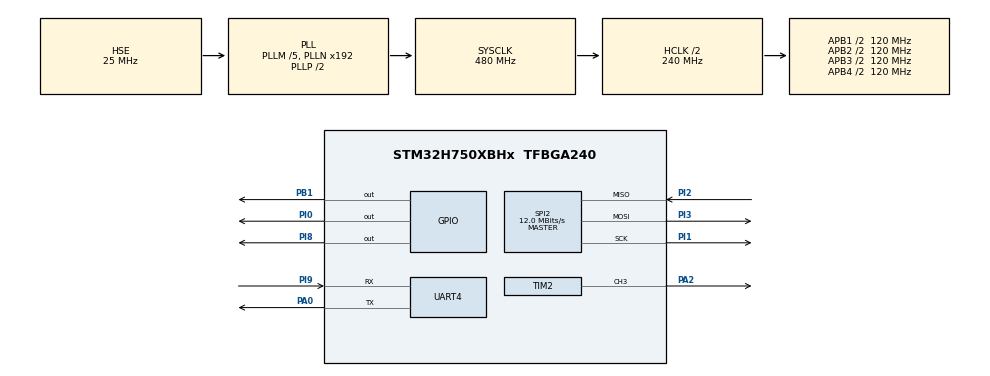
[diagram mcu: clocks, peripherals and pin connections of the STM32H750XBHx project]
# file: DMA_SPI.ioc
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CORTEX_M7.default_mode_Activation=1
Dma.Request0=UART4_TX
Dma.Request1=TIM2_UP
Dma.TIM2_UP.1.Direction=DMA_MEMORY_TO_PERIPH
Dma.TIM2_UP.1.EventEnable=ENABLE
Dma.TIM2_UP.1.FIFOMode=DMA_FIFOMODE_DISABLE
Dma.TIM2_UP.1.Instance=DMA1_Stream0
Dma.TIM2_UP.1.MemDataAlignment=DMA_MDATAALIGN_WORD
Dma.TIM2_UP.1.MemInc=DMA_MINC_DISABLE
Dma.TIM2_UP.1.Mode=DMA_CIRCULAR
Dma.TIM2_UP.1.PeriphDataAlignment=DMA_PDATAALIGN_WORD
Dma.TIM2_UP.1.PeriphInc=DMA_PINC_DISABLE
Dma.TIM2_UP.1.Polarity=HAL_DMAMUX_REQ_GEN_RISING
Dma.TIM2_UP.1.Priority=DMA_PRIORITY_LOW
Dma.TIM2_UP.1.RequestNumber=1
Dma.TIM2_UP.1.SignalID=NONE
Dma.TIM2_UP.1.SyncEnable=DISABLE
Dma.TIM2_UP.1.SyncPolarity=HAL_DMAMUX_SYNC_NO_EVENT
Dma.TIM2_UP.1.SyncRequestNumber=1
Dma.TIM2_UP.1.SyncSignalID=NONE
Dma.UART4_TX.0.Direction=DMA_MEMORY_TO_PERIPH
Dma.UART4_TX.0.EventEnable=DISABLE
Dma.UART4_TX.0.FIFOMode=DMA_FIFOMODE_DISABLE
Dma.UART4_TX.0.Instance=DMA1_Stream1
Dma.UART4_TX.0.MemDataAlignment=DMA_MDATAALIGN_BYTE
Dma.UART4_TX.0.MemInc=DMA_MINC_ENABLE
Dma.UART4_TX.0.Mode=DMA_CIRCULAR
Dma.UART4_TX.0.PeriphDataAlignment=DMA_PDATAALIGN_BYTE
Dma.UART4_TX.0.PeriphInc=DMA_PINC_DISABLE
Dma.UART4_TX.0.Polarity=HAL_DMAMUX_REQ_GEN_RISING
Dma.UART4_TX.0.Priority=DMA_PRIORITY_LOW
Dma.UART4_TX.0.RequestNumber=1
Dma.UART4_TX.0.SignalID=NONE
Dma.UART4_TX.0.SyncEnable=ENABLE
Dma.UART4_TX.0.SyncPolarity=HAL_DMAMUX_SYNC_RISING
Dma.UART4_TX.0.SyncRequestNumber=1
Dma.UART4_TX.0.SyncSignalID=HAL_DMAMUX1_SYNC_LPTIM2_OUT
Mcu.Family=STM32H7
Mcu.Name=STM32H750XBHx
Mcu.Package=TFBGA240
NVIC.DMA1_Stream0_IRQn=true\:0\:0\:false\:false\:true\:false\:true\:true
NVIC.DMA1_Stream1_IRQn=true\:0\:0\:false\:false\:true\:false\:true\:true
NVIC.DMAMUX1_OVR_IRQn=true\:0\:0\:false\:false\:true\:false\:true\:true
NVIC.PriorityGroup=NVIC_PRIORITYGROUP_4
PA0.Mode=Asynchronous
PA0.Signal=UART4_TX
PA13\ (JTMS/SWDIO).Mode=Serial_Wire
PA13\ (JTMS/SWDIO).Signal=DEBUG_JTMS-SWDIO
PA14\ (JTCK/SWCLK).Mode=Serial_Wire
PA14\ (JTCK/SWCLK).Signal=DEBUG_JTCK-SWCLK
PA2.Signal=S_TIM2_CH3
PB1.Signal=GPIO_Output
PC14-OSC32_IN\ (OSC32_IN).Mode=LSE-External-Oscillator
PC14-OSC32_IN\ (OSC32_IN).Signal=RCC_OSC32_IN
PC15-OSC32_OUT\ (OSC32_OUT).Mode=LSE-External-Oscillator
PC15-OSC32_OUT\ (OSC32_OUT).Signal=RCC_OSC32_OUT
PH0-OSC_IN\ (PH0).Mode=HSE-External-Oscillator
PH0-OSC_IN\ (PH0).Signal=RCC_OSC_IN
PH1-OSC_OUT\ (PH1).Mode=HSE-External-Oscillator
PH1-OSC_OUT\ (PH1).Signal=RCC_OSC_OUT
PI0.Signal=GPIO_Output
PI1.Mode=Full_Duplex_Master
PI1.Signal=SPI2_SCK
PI2.Mode=Full_Duplex_Master
PI2.Signal=SPI2_MISO
PI3.Mode=Full_Duplex_Master
PI3.Signal=SPI2_MOSI
PI8.Signal=GPIO_Output
PI9.Mode=Asynchronous
PI9.Signal=UART4_RX
ProjectManager.HeapSize=0x200
ProjectManager.StackSize=0x400
ProjectManager.TargetToolchain=MDK-ARM V5.27
RCC.ADCFreq_Value=50390625
RCC.APB1Freq_Value=120000000
RCC.APB2Freq_Value=120000000
RCC.APB3Freq_Value=120000000
RCC.APB4Freq_Value=120000000
RCC.CortexFreq_Value=480000000
RCC.D1PPRE=RCC_APB3_DIV2
RCC.D2PPRE1=RCC_APB1_DIV2
RCC.D2PPRE2=RCC_APB2_DIV2
RCC.D3PPRE=RCC_APB4_DIV2
RCC.DIVM1=5
RCC.DIVN1=192
RCC.DIVQ1=5
RCC.HCLKFreq_Value=240000000
RCC.HPRE=RCC_HCLK_DIV2
RCC.PLL2FRACN=0
RCC.PLL3FRACN=0
RCC.PLLFRACN=0
RCC.PLLSourceVirtual=RCC_PLLSOURCE_HSE
RCC.SYSCLKFreq_VALUE=480000000
RCC.SYSCLKSource=RCC_SYSCLKSOURCE_PLLCLK
RCC.USBFreq_Value=192000000
SH.S_TIM2_CH3.0=TIM2_CH3,PWM Generation3 CH3
SPI2.BaudRatePrescaler=SPI_BAUDRATEPRESCALER_16
SPI2.CalculateBaudRate=12.0 MBits/s
SPI2.DataSize=SPI_DATASIZE_32BIT
SPI2.Direction=SPI_DIRECTION_2LINES
SPI2.Mode=SPI_MODE_MASTER
SPI2.VirtualType=VM_MASTER
TIM2.AutoReloadPreload=TIM_AUTORELOAD_PRELOAD_ENABLE
TIM2.Channel-PWM\ Generation1\ No\ Output=TIM_CHANNEL_1
TIM2.Channel-PWM\ Generation3\ CH3=TIM_CHANNEL_3
TIM2.Period=1000-1
TIM2.Prescaler=240-1
TIM2.Pulse-PWM\ Generation1\ No\ Output=200-1
TIM2.Pulse-PWM\ Generation3\ CH3=200-1
VP_LPTIM2_VS_LPTIM_counterModeInternalClock.Mode=Counts__internal_clock_event_00
VP_MEMORYMAP_VS_MEMORYMAP.Mode=CurAppReg
VP_TIM2_VS_ClockSourceINT.Mode=Internal
VP_TIM2_VS_no_output1.Mode=PWM Generation1 No Output
board=custom

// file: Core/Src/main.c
/* USER CODE BEGIN Header */
/**
  ******************************************************************************
  * @file           : main.c
  * @brief          : Main program body
  ******************************************************************************
  * @attention
  *
  * Copyright (c) 2025 STMicroelectronics.
  * All rights reserved.
  *
  * This software is licensed under terms that can be found in the LICENSE file
  * in the root directory of this software component.
  * If no LICENSE file comes with this software, it is provided AS-IS.
  *
  ******************************************************************************
  */
/* USER CODE END Header */
#include "main.h"
#include "dma.h"
#include "lptim.h"
#include "memorymap.h"
#include "spi.h"
#include "tim.h"
#include "usart.h"
#include "gpio.h"

/* USER CODE BEGIN PV */
extern SPI_HandleTypeDef hspi2;
int test_frame_int32[1];
/* USER CODE END PV */

void SystemClock_Config(void);
static void MPU_Config(void);

/* USER CODE BEGIN 0 */
typedef union{
	uint32_t u32_data;
	struct {
		uint32_t bit0_3 : 4;
		uint32_t bit4_23 : 20;
		uint32_t bit24_30 : 7;
		uint32_t bit31 : 1;
	}bits;
}dac_frame_t;

dac_frame_t test_frame_union[11];

#define 	WRITE_MODE					(0)
#define 	READ_MODE						(1)
#define  	REG_ADDR_DATA				(0x01)
#define  	REG_ADDR_CFG1				(0x02)
#define 	RT_EOK							(0)

int concat_frame(dac_frame_t *pframe,uint32_t wr_direction,uint32_t reg_addr,uint32_t data)
{
	pframe->bits.bit0_3 = 0x00;
	pframe->bits.bit4_23 = data;
	pframe->bits.bit24_30 = reg_addr;
	if(wr_direction == WRITE_MODE)
	{
		pframe->bits.bit31 = WRITE_MODE;
	}
	else if(wr_direction == READ_MODE)
	{
		pframe->bits.bit31 = READ_MODE;
	}
	return RT_EOK;
}

int generate_test_frame()
{
	concat_frame(&test_frame_union[0], WRITE_MODE, REG_ADDR_CFG1,	0x004C8);
	concat_frame(&test_frame_union[1], WRITE_MODE, REG_ADDR_DATA,	0x00000);
	concat_frame(&test_frame_union[2], WRITE_MODE, REG_ADDR_DATA,	0xFFFFF);
	concat_frame(&test_frame_union[3], WRITE_MODE, REG_ADDR_DATA,	0x00000);
	concat_frame(&test_frame_union[4], WRITE_MODE, REG_ADDR_DATA,	0xFFFFF);
	concat_frame(&test_frame_union[5], WRITE_MODE, REG_ADDR_DATA,	0x00000);
	concat_frame(&test_frame_union[6], WRITE_MODE, REG_ADDR_DATA,	0xFFFFF);
	concat_frame(&test_frame_union[7], WRITE_MODE, REG_ADDR_DATA,	0x00000);
	concat_frame(&test_frame_union[8], WRITE_MODE, REG_ADDR_DATA,	0xFFFFF);
	concat_frame(&test_frame_union[9], WRITE_MODE, REG_ADDR_DATA,	0x00000);
	concat_frame(&test_frame_union[10], WRITE_MODE, REG_ADDR_DATA,0xFFFFF);

	int length = 10;
	for(int index = 0; index < length; index++)
	{
		test_frame_int32[index] = test_frame_union[index].u32_data;
	}
	return length;
}

uint8_t UART_BUF1[]="1:hello world\r\n";
uint8_t UART_BUF2[]="2:hello world\r\n";
extern DMA_HandleTypeDef hdma_uart4_tx;

#include "stm32h7xx_hal_gpio.h"
uint32_t odr;
uint32_t status;
extern DMA_HandleTypeDef hdma_tim2_up;
/* USER CODE END 0 */

int main(void)
{

  /* MPU Configuration--------------------------------------------------------*/
  MPU_Config();

  /* MCU Configuration--------------------------------------------------------*/

  /* Reset of all peripherals, Initializes the Flash interface and the Systick. */
  HAL_Init();

  /* Configure the system clock */
  SystemClock_Config();

  /* Initialize all configured peripherals */
  MX_GPIO_Init();
  MX_DMA_Init();
  MX_SPI2_Init();
  MX_TIM2_Init();
  MX_LPTIM2_Init();
  MX_UART4_Init();
  /* USER CODE BEGIN 2 */
//	HAL_DMAEx_MultiBufferStart(&hdma_uart4_tx, UART_BUF1, &huart4.Instance->TDR, UART_BUF2,sizeof(UART_BUF1));
//	ATOMIC_SET_BIT(huart4.Instance->CR3, USART_CR3_DMAT);
//	HAL_LPTIM_Counter_Start(&hlptim2,37500-1);

//	HAL_DMA_Start_IT(&hdma_tim2_up, &status, &GPIOB->BSRR, 1);

	ATOMIC_SET_BIT(huart4.Instance->CR3, USART_CR3_DMAT);
	HAL_DMAEx_MultiBufferStart_IT(&hdma_tim2_up, UART_BUF1, &huart4.Instance->TDR,UART_BUF2, 1);

	HAL_TIM_Base_Start(&htim2);
//	HAL_TIM_PWM_Start(&htim2,TIM_CHANNEL_1);
//	HAL_TIM_PWM_Start(&htim2,TIM_CHANNEL_3);

  /* USER CODE END 2 */

  /* Infinite loop */
  while (1)
  {

    /* USER CODE BEGIN 3 */
//		HAL_GPIO_WritePin(GPIOI, GPIO_PIN_8, GPIO_PIN_RESET);
//		HAL_Delay(100);
//		HAL_GPIO_WritePin(GPIOI, GPIO_PIN_8, GPIO_PIN_SET);
		HAL_Delay(100);

		odr = GPIOB->ODR;
		status = ((odr & GPIO_PIN_1) << (16U)) | (~odr & GPIO_PIN_1);
//		SET_BIT(GPIOB->BSRR,status);

//		HAL_TIM_GenerateEvent(&htim2, TIM_EVENTSOURCE_CC1);

//		HAL_GPIO_WritePin(GPIOI, GPIO_PIN_0, GPIO_PIN_RESET);
//		HAL_SPI_Transmit_DMA(&hspi2,&test_frame_union[0],1*4);

  }
  /* USER CODE END 3 */
}

void SystemClock_Config(void)
{
  RCC_OscInitTypeDef RCC_OscInitStruct = {0};
  RCC_ClkInitTypeDef RCC_ClkInitStruct = {0};

  /** Supply configuration update enable
  */
  HAL_PWREx_ConfigSupply(PWR_LDO_SUPPLY);

  /** Configure the main internal regulator output voltage
  */
  __HAL_PWR_VOLTAGESCALING_CONFIG(PWR_REGULATOR_VOLTAGE_SCALE0);

  while(!__HAL_PWR_GET_FLAG(PWR_FLAG_VOSRDY)) {}

  /** Initializes the RCC Oscillators according to the specified parameters
  * in the RCC_OscInitTypeDef structure.
  */
  RCC_OscInitStruct.OscillatorType = RCC_OSCILLATORTYPE_HSE;
  RCC_OscInitStruct.HSEState = RCC_HSE_ON;
  RCC_OscInitStruct.PLL.PLLState = RCC_PLL_ON;
  RCC_OscInitStruct.PLL.PLLSource = RCC_PLLSOURCE_HSE;
  RCC_OscInitStruct.PLL.PLLM = 5;
  RCC_OscInitStruct.PLL.PLLN = 192;
  RCC_OscInitStruct.PLL.PLLP = 2;
  RCC_OscInitStruct.PLL.PLLQ = 5;
  RCC_OscInitStruct.PLL.PLLR = 2;
  RCC_OscInitStruct.PLL.PLLRGE = RCC_PLL1VCIRANGE_2;
  RCC_OscInitStruct.PLL.PLLVCOSEL = RCC_PLL1VCOWIDE;
  RCC_OscInitStruct.PLL.PLLFRACN = 0;
  if (HAL_RCC_OscConfig(&RCC_OscInitStruct) != HAL_OK)
  {
    Error_Handler();
  }

  /** Initializes the CPU, AHB and APB buses clocks
  */
  RCC_ClkInitStruct.ClockType = RCC_CLOCKTYPE_HCLK|RCC_CLOCKTYPE_SYSCLK
                              |RCC_CLOCKTYPE_PCLK1|RCC_CLOCKTYPE_PCLK2
                              |RCC_CLOCKTYPE_D3PCLK1|RCC_CLOCKTYPE_D1PCLK1;
  RCC_ClkInitStruct.SYSCLKSource = RCC_SYSCLKSOURCE_PLLCLK;
  RCC_ClkInitStruct.SYSCLKDivider = RCC_SYSCLK_DIV1;
  RCC_ClkInitStruct.AHBCLKDivider = RCC_HCLK_DIV2;
  RCC_ClkInitStruct.APB3CLKDivider = RCC_APB3_DIV2;
  RCC_ClkInitStruct.APB1CLKDivider = RCC_APB1_DIV2;
  RCC_ClkInitStruct.APB2CLKDivider = RCC_APB2_DIV2;
  RCC_ClkInitStruct.APB4CLKDivider = RCC_APB4_DIV2;

  if (HAL_RCC_ClockConfig(&RCC_ClkInitStruct, FLASH_LATENCY_4) != HAL_OK)
  {
    Error_Handler();
  }
}

 /* MPU Configuration */

void MPU_Config(void)
{
  MPU_Region_InitTypeDef MPU_InitStruct = {0};

  /* Disables the MPU */
  HAL_MPU_Disable();

  /** Initializes and configures the Region and the memory to be protected
  */
  MPU_InitStruct.Enable = MPU_REGION_ENABLE;
  MPU_InitStruct.Number = MPU_REGION_NUMBER0;
  MPU_InitStruct.BaseAddress = 0x0;
  MPU_InitStruct.Size = MPU_REGION_SIZE_4GB;
  MPU_InitStruct.SubRegionDisable = 0x87;
  MPU_InitStruct.TypeExtField = MPU_TEX_LEVEL0;
  MPU_InitStruct.AccessPermission = MPU_REGION_NO_ACCESS;
  MPU_InitStruct.DisableExec = MPU_INSTRUCTION_ACCESS_DISABLE;
  MPU_InitStruct.IsShareable = MPU_ACCESS_SHAREABLE;
  MPU_InitStruct.IsCacheable = MPU_ACCESS_NOT_CACHEABLE;
  MPU_InitStruct.IsBufferable = MPU_ACCESS_NOT_BUFFERABLE;

  HAL_MPU_ConfigRegion(&MPU_InitStruct);
  /* Enables the MPU */
  HAL_MPU_Enable(MPU_PRIVILEGED_DEFAULT);

}

void Error_Handler(void)
{
  __disable_irq();
  while (1)
  {
  }
}
